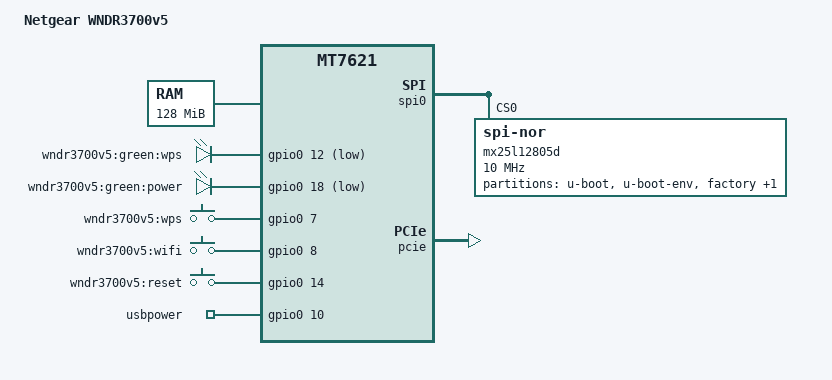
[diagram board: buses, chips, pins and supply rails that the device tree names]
/dts-v1/;

#include "mt7621.dtsi"

#include <dt-bindings/gpio/gpio.h>
#include <dt-bindings/input/input.h>

/ {
	compatible = "netgear,wndr3700-v5", "mediatek,mt7621-soc";
	model = "Netgear WNDR3700v5";

	aliases {
		led-boot = &led_power;
		led-failsafe = &led_power;
		led-running = &led_power;
		led-upgrade = &led_power;
	};

	memory@0 {
		device_type = "memory";
		reg = <0x0 0x8000000>;
	};

	chosen {
		bootargs = "console=ttyS0,57600 maxcpus=2";
	};

	gpio-leds {
		compatible = "gpio-leds";

		wps {
			label = "wndr3700v5:green:wps";
			gpios = <&gpio0 12 GPIO_ACTIVE_LOW>;
		};

		led_power: power {
			label = "wndr3700v5:green:power";
			gpios = <&gpio0 18 GPIO_ACTIVE_LOW>;
		};
	};

	gpio-keys-polled {
		compatible = "gpio-keys-polled";
		poll-interval = <20>;

		wps {
			label = "wndr3700v5:wps";
			gpios = <&gpio0 7 GPIO_ACTIVE_HIGH>;
			linux,code = <KEY_WPS_BUTTON>;
		};

		wifi {
			label = "wndr3700v5:wifi";
			gpios = <&gpio0 8 GPIO_ACTIVE_HIGH>;
			linux,code = <KEY_RFKILL>;
		};

		reset {
			label = "wndr3700v5:reset";
			gpios = <&gpio0 14 GPIO_ACTIVE_HIGH>;
			linux,code = <KEY_RESTART>;
		};
	};

	gpio_export {
		compatible = "gpio-export";
		#size-cells = <0>;

		usbpower {
			gpio-export,name = "usbpower";
			gpio-export,output = <1>;
			gpios = <&gpio0 10 GPIO_ACTIVE_HIGH>;
		};
	};
};

&spi0 {
	status = "okay";

	mx25l12805d@0 {
		compatible = "jedec,spi-nor";
		reg = <0>;
		spi-max-frequency = <10000000>;
		m25p,chunked-io = <32>;

		partitions {
			compatible = "fixed-partitions";
			#address-cells = <1>;
			#size-cells = <1>;

			partition@0 {
				label = "u-boot";
				reg = <0x0 0x30000>;
				read-only;
			};

			partition@30000 {
				label = "u-boot-env";
				reg = <0x30000 0x10000>;
				read-only;
			};

			factory: partition@f30000 {
				label = "factory";
				reg = <0xf30000 0x10000>;
				read-only;
			};

			partition@50000 {
				label = "firmware";
				reg = <0x50000 0xee0000>;
			};
		};
	};
};

&pcie {
	status = "okay";
};

&pcie0 {
	mt76@0,0 {
		reg = <0x0000 0 0 0 0>;
		mediatek,mtd-eeprom = <&factory 0x8000>;
		ieee80211-freq-limit = <5000000 6000000>;
	};
};

&pcie1 {
	mt76@0,0 {
		reg = <0x0000 0 0 0 0>;
		mediatek,mtd-eeprom = <&factory 0x0000>;
	};
};

&ethernet {
	mtd-mac-address = <&factory 0x0000000c>;
};

&pinctrl {
	state_default: pinctrl0 {
		gpio {
			ralink,group = "rgmii2", "mdio", "wdt";
			ralink,function = "gpio";
		};
	};
};
